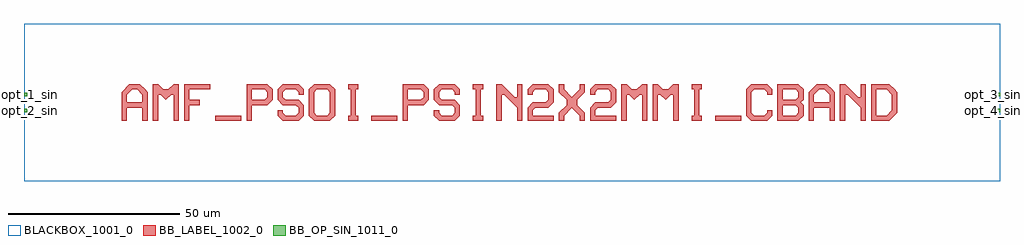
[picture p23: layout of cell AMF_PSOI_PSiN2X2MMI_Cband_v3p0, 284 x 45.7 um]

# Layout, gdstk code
import gdstk
lib = gdstk.Library(unit=1e-6, precision=1e-09)
def R(c, l, rs):  # rectangles x0, y0, x1, y1
    for r in rs: c.add(gdstk.rectangle(r[:2], r[2:], *l))
def P(c, l, *ps):  # polygons
    for p in ps: c.add(gdstk.Polygon(p, *l))
BLACKBOX_1001_0 = (1001, 0)
BB_LABEL_1002_0 = (1002, 0)
BB_OP_SIN_1011_0 = (1011, 0)

amf_psoi_psin2x2mmi_cban = lib.new_cell('AMF_PSOI_PSiN2X2MMI_Cband_v3p0')
R(amf_psoi_psin2x2mmi_cban, BLACKBOX_1001_0, [(0,-22.85,284,22.85)])
R(amf_psoi_psin2x2mmi_cban, BB_LABEL_1002_0, [(55.664,-5.301,63.238,-3.786), (101.104,-5.301,108.678,-3.786), (201.072,-5.301,208.646,-3.786)])
P(amf_psoi_psin2x2mmi_cban, BB_LABEL_1002_0, [(28.4,-5.301),(28.4,3.03),(30.672,5.302),(33.701,5.302),(35.216,3.787),(31.429,3.787),(29.915,2.273),(29.915,0),(34.459,0),(34.459,2.273),(32.944,3.787),(35.216,3.787),(35.974,3.03),(35.974,-5.301),(34.459,-5.301),(34.459,-1.514),(29.915,-1.514),(29.915,-5.301)],
  [(37.488,-5.301),(37.488,5.302),(39.003,5.302),(40.517,3.787),(42.032,3.787),(43.547,5.302),(45.062,5.302),(45.062,-5.301),(43.547,-5.301),(43.547,2.273),(42.789,2.273),(41.275,0.758),(39.76,2.273),(39.003,2.273),(39.003,-5.301)],
  [(46.576,-5.301),(46.576,5.302),(54.15,5.302),(54.15,3.787),(48.091,3.787),(48.091,0.758),(51.12,0.758),(51.12,-0.757),(48.091,-0.757),(48.091,-5.301)],
  [(64.752,-5.301),(64.752,5.302),(70.811,5.302),(72.326,3.787),(72.326,0.758),(70.811,-0.757),(66.267,-0.757),(66.267,0.758),(70.053,0.758),(70.811,1.515),(70.811,3.03),(70.053,3.787),(66.267,3.787),(66.267,-5.301)],
  [(75.355,-5.301),(73.84,-3.786),(73.84,-2.272),(75.355,-2.272),(75.355,-3.029),(76.112,-3.786),(79.141,-3.786),(79.899,-3.029),(79.899,-1.514),(79.141,-0.757),(75.355,-0.757),(73.84,0.758),(73.84,3.787),(75.355,5.302),(79.899,5.302),(81.414,3.787),(81.414,2.273),(79.899,2.273),(79.899,3.03),(79.141,3.787),(76.112,3.787),(75.355,3.03),(75.355,1.515),(76.112,0.758),(79.899,0.758),(81.414,-0.757),(81.414,-3.786),(79.899,-5.301)],
  [(84.443,-5.301),(82.928,-3.786),(82.928,3.787),(84.443,5.302),(88.987,5.302),(90.502,3.787),(90.502,0),(88.987,0),(88.987,3.03),(88.229,3.787),(85.2,3.787),(84.443,3.03),(84.443,-3.029),(85.2,-3.786),(88.229,-3.786),(88.987,-3.029),(88.987,0),(90.502,0),(90.502,-3.786),(88.987,-5.301)],
  [(94.288,-5.301),(94.288,-3.786),(95.045,-3.786),(95.045,3.787),(94.288,3.787),(94.288,5.302),(97.317,5.302),(97.317,3.787),(96.56,3.787),(96.56,-3.786),(97.317,-3.786),(97.317,-5.301)],
  [(110.192,-5.301),(110.192,5.302),(116.251,5.302),(117.766,3.787),(117.766,0.758),(116.251,-0.757),(111.707,-0.757),(111.707,0.758),(115.493,0.758),(116.251,1.515),(116.251,3.03),(115.493,3.787),(111.707,3.787),(111.707,-5.301)],
  [(120.795,-5.301),(119.28,-3.786),(119.28,-2.272),(120.795,-2.272),(120.795,-3.029),(121.552,-3.786),(124.581,-3.786),(125.339,-3.029),(125.339,-1.514),(124.581,-0.757),(120.795,-0.757),(119.28,0.758),(119.28,3.787),(120.795,5.302),(125.339,5.302),(126.854,3.787),(126.854,2.273),(125.339,2.273),(125.339,3.03),(124.581,3.787),(121.552,3.787),(120.795,3.03),(120.795,1.515),(121.552,0.758),(125.339,0.758),(126.854,-0.757),(126.854,-3.786),(125.339,-5.301)],
  [(130.64,-5.301),(130.64,-3.786),(131.397,-3.786),(131.397,3.787),(130.64,3.787),(130.64,5.302),(133.669,5.302),(133.669,3.787),(132.912,3.787),(132.912,-3.786),(133.669,-3.786),(133.669,-5.301)],
  [(137.456,-5.301),(137.456,5.302),(138.971,5.302),(142.757,1.515),(143.515,1.515),(143.515,5.302),(145.03,5.302),(145.03,-5.301),(143.515,-5.301),(143.515,-1.514),(139.728,2.273),(138.971,2.273),(138.971,-5.301)],
  [(146.544,-5.301),(146.544,-1.514),(148.059,0),(151.845,0),(152.603,0.758),(152.603,3.03),(151.845,3.787),(148.816,3.787),(148.059,3.03),(148.059,2.273),(146.544,2.273),(146.544,3.787),(148.059,5.302),(152.603,5.302),(154.118,3.787),(154.118,0),(152.603,-1.514),(148.816,-1.514),(148.059,-2.272),(148.059,-3.786),(154.118,-3.786),(154.118,-5.301)],
  [(155.632,-5.301),(155.632,-3.029),(157.904,-0.757),(157.904,0.758),(155.632,3.03),(155.632,5.302),(157.147,5.302),(157.147,3.787),(159.419,1.515),(161.691,3.787),(161.691,5.302),(163.206,5.302),(163.206,3.03),(160.933,0.758),(160.933,-0.757),(163.206,-3.029),(163.206,-5.301),(161.691,-5.301),(161.691,-3.786),(159.419,-1.514),(157.147,-3.786),(157.147,-5.301)],
  [(164.72,-5.301),(164.72,-1.514),(166.235,0),(170.021,0),(170.779,0.758),(170.779,3.03),(170.021,3.787),(166.992,3.787),(166.235,3.03),(166.235,2.273),(164.72,2.273),(164.72,3.787),(166.235,5.302),(170.779,5.302),(172.294,3.787),(172.294,0),(170.779,-1.514),(166.992,-1.514),(166.235,-2.272),(166.235,-3.786),(172.294,-3.786),(172.294,-5.301)],
  [(173.808,-5.301),(173.808,5.302),(175.323,5.302),(176.837,3.787),(178.352,3.787),(179.867,5.302),(181.382,5.302),(181.382,-5.301),(179.867,-5.301),(179.867,2.273),(179.109,2.273),(177.595,0.758),(176.08,2.273),(175.323,2.273),(175.323,-5.301)],
  [(182.896,-5.301),(182.896,5.302),(184.411,5.302),(185.925,3.787),(187.44,3.787),(188.955,5.302),(190.47,5.302),(190.47,-5.301),(188.955,-5.301),(188.955,2.273),(188.197,2.273),(186.683,0.758),(185.168,2.273),(184.411,2.273),(184.411,-5.301)],
  [(194.256,-5.301),(194.256,-3.786),(195.013,-3.786),(195.013,3.787),(194.256,3.787),(194.256,5.302),(197.285,5.302),(197.285,3.787),(196.528,3.787),(196.528,-3.786),(197.285,-3.786),(197.285,-5.301)],
  [(211.675,-5.301),(210.16,-3.786),(210.16,3.787),(211.675,5.302),(216.219,5.302),(217.734,3.787),(217.734,2.273),(216.219,2.273),(216.219,3.03),(215.461,3.787),(212.432,3.787),(211.675,3.03),(211.675,-3.029),(212.432,-3.786),(215.461,-3.786),(216.219,-3.029),(216.219,-2.272),(217.734,-2.272),(217.734,-3.786),(216.219,-5.301)],
  [(219.248,-5.301),(219.248,5.302),(225.307,5.302),(226.822,3.787),(220.763,3.787),(220.763,0.758),(224.549,0.758),(225.307,1.515),(225.307,3.03),(224.549,3.787),(226.822,3.787),(226.822,0.758),(226.064,0),(226.822,-0.757),(220.763,-0.757),(220.763,-3.786),(224.549,-3.786),(225.307,-3.029),(225.307,-1.514),(224.549,-0.757),(226.822,-0.757),(226.822,-3.786),(225.307,-5.301)],
  [(228.336,-5.301),(228.336,3.03),(230.608,5.302),(233.637,5.302),(235.152,3.787),(231.365,3.787),(229.851,2.273),(229.851,0),(234.395,0),(234.395,2.273),(232.88,3.787),(235.152,3.787),(235.91,3.03),(235.91,-5.301),(234.395,-5.301),(234.395,-1.514),(229.851,-1.514),(229.851,-5.301)],
  [(237.424,-5.301),(237.424,5.302),(238.939,5.302),(242.725,1.515),(243.483,1.515),(243.483,5.302),(244.998,5.302),(244.998,-5.301),(243.483,-5.301),(243.483,-1.514),(239.696,2.273),(238.939,2.273),(238.939,-5.301)],
  [(246.512,-5.301),(246.512,5.302),(251.813,5.302),(253.328,3.787),(248.027,3.787),(248.027,-3.786),(251.056,-3.786),(252.571,-2.272),(252.571,2.273),(251.056,3.787),(253.328,3.787),(254.086,3.03),(254.086,-3.029),(251.813,-5.301)])
R(amf_psoi_psin2x2mmi_cban, BB_OP_SIN_1011_0, [(0,-2.85,1,-1.85), (283,-2.85,284,-1.85), (0,1.85,1,2.85), (283,1.85,284,2.85)])
amf_psoi_psin2x2mmi_cban.add(gdstk.Label('opt_1_sin', (0,2.35), layer=1011, texttype=0))
amf_psoi_psin2x2mmi_cban.add(gdstk.Label('opt_2_sin', (0,-2.35), layer=1011, texttype=0))
amf_psoi_psin2x2mmi_cban.add(gdstk.Label('opt_3_sin', (284,2.35), layer=1011, texttype=0))
amf_psoi_psin2x2mmi_cban.add(gdstk.Label('opt_4_sin', (284,-2.35), layer=1011, texttype=0))

lib.write_gds('AMF_PSOI_PSiN2X2MMI_Cband_v3p0.gds')
